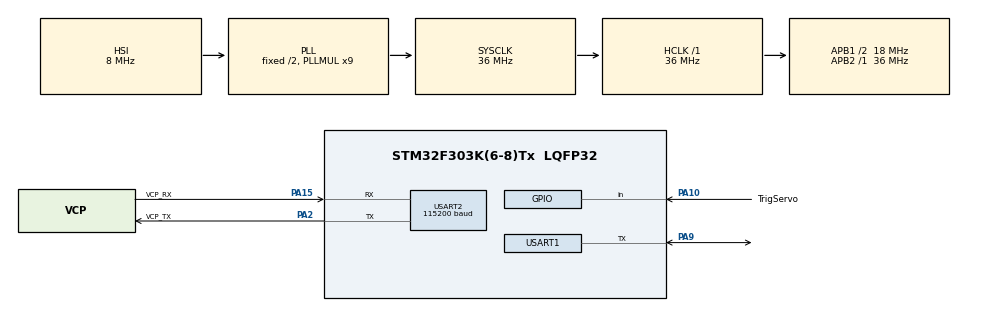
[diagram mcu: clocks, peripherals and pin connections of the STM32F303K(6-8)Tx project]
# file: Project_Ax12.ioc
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Dma.Request0=USART1_RX
Dma.USART1_RX.0.Direction=DMA_PERIPH_TO_MEMORY
Dma.USART1_RX.0.Instance=DMA1_Channel5
Dma.USART1_RX.0.MemDataAlignment=DMA_MDATAALIGN_BYTE
Dma.USART1_RX.0.MemInc=DMA_MINC_ENABLE
Dma.USART1_RX.0.Mode=DMA_CIRCULAR
Dma.USART1_RX.0.PeriphDataAlignment=DMA_PDATAALIGN_BYTE
Dma.USART1_RX.0.PeriphInc=DMA_PINC_DISABLE
Dma.USART1_RX.0.Priority=DMA_PRIORITY_VERY_HIGH
Mcu.Family=STM32F3
Mcu.Name=STM32F303K(6-8)Tx
Mcu.Package=LQFP32
NVIC.DMA1_Channel5_IRQn=true\:0\:0\:false\:false\:true\:false\:true\:true
NVIC.PriorityGroup=NVIC_PRIORITYGROUP_4
NVIC.USART1_IRQn=true\:0\:0\:false\:false\:true\:true\:true\:true
NVIC.USART2_IRQn=true\:0\:0\:false\:false\:true\:true\:true\:true
PA10.GPIO_Label=TrigServo
PA10.Signal=GPIO_Input
PA13.GPIO_Label=SWDIO
PA13.Mode=Serial_Wire
PA13.Signal=SYS_JTMS-SWDIO
PA14.GPIO_Label=SWCLK
PA14.Mode=Serial_Wire
PA14.Signal=SYS_JTCK-SWCLK
PA15.GPIO_Label=VCP_RX
PA15.Mode=Asynchronous
PA15.Signal=USART2_RX
PA2.GPIO_Label=VCP_TX
PA2.Mode=Asynchronous
PA2.Signal=USART2_TX
PA9.Mode=Half_duplex(single_wire_mode)
PA9.Signal=USART1_TX
PF0\ /\ OSC_IN.GPIO_Label=MCO
PF0\ /\ OSC_IN.Mode=HSE-External-Clock-Source
PF0\ /\ OSC_IN.Signal=RCC_OSC_IN
ProjectManager.HeapSize=0x200
ProjectManager.StackSize=0x400
ProjectManager.TargetToolchain=STM32CubeIDE
RCC.AHBFreq_Value=36000000
RCC.APB1CLKDivider=RCC_HCLK_DIV2
RCC.APB1Freq_Value=18000000
RCC.APB1TimFreq_Value=36000000
RCC.APB2Freq_Value=36000000
RCC.APB2TimFreq_Value=36000000
RCC.CortexFreq_Value=36000000
RCC.HCLKFreq_Value=36000000
RCC.HSE_VALUE=8000000
RCC.HSI_VALUE=8000000
RCC.PLLMUL=RCC_PLL_MUL9
RCC.SYSCLKFreq_VALUE=36000000
RCC.SYSCLKSourceVirtual=RCC_SYSCLKSOURCE_PLLCLK
USART1.BaudRate=250000
USART1.VirtualMode-Half_duplex(single_wire_mode)=VM_ASYNC
USART2.BaudRate=115200
USART2.VirtualMode-Asynchronous=VM_ASYNC
board=NUCLEO-F303K8

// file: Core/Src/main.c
/* USER CODE BEGIN Header */
/**
  ******************************************************************************
  * @file           : main.c
  * @brief          : Main program body
  ******************************************************************************
  * @attention
  *
  * Copyright (c) 2023 STMicroelectronics.
  * All rights reserved.
  *
  * This software is licensed under terms that can be found in the LICENSE file
  * in the root directory of this software component.
  * If no LICENSE file comes with this software, it is provided AS-IS.
  *
  ******************************************************************************
  */
/* USER CODE END Header */
#include "main.h"

/* USER CODE BEGIN Includes */
#include "AX12_test.h"
/* USER CODE END Includes */

UART_HandleTypeDef huart1;
UART_HandleTypeDef huart2;
DMA_HandleTypeDef hdma_usart1_rx;

/* USER CODE BEGIN PV */
uint8_t PhobosArm;
/* USER CODE END PV */

void SystemClock_Config(void);
static void MX_GPIO_Init(void);
static void MX_DMA_Init(void);
static void MX_USART2_UART_Init(void);
static void MX_USART1_UART_Init(void);
/* USER CODE BEGIN PFP */
void HAL_UART_RxCpltCallback(UART_HandleTypeDef* huart) {
	if(huart->Instance == USART2){
		if(PhobosArm==0x88){//ping the robot with the host and sendback a byte
			AX12 ax12_ID1;
			AX12_Init(&ax12_ID1, &huart1, 1, BR_250K);
			AX12_setLED(&ax12_ID1, 1);
			AX12_setMovingSpeed(&ax12_ID1, 5);
			AX12_setRangeAngle(&ax12_ID1, 0, 300);
			AX12_setDelayTime(&ax12_ID1, 180);
			AX12_setPosition(&ax12_ID1,140);
			HAL_Delay(5000);
			AX12_setPosition(&ax12_ID1,180);

		}

	}
}
/* USER CODE END PFP */

int main(void)
{

  /* MCU Configuration--------------------------------------------------------*/

  /* Reset of all peripherals, Initializes the Flash interface and the Systick. */
  HAL_Init();

  /* Configure the system clock */
  SystemClock_Config();

  /* Initialize all configured peripherals */
  MX_GPIO_Init();
  MX_DMA_Init();
  MX_USART2_UART_Init();
  MX_USART1_UART_Init();
  /* USER CODE BEGIN 2 */
  HAL_UART_Receive_IT(&huart2, &PhobosArm, 1);
  AX12 ax12_1; //( de 60 à 150)
  AX12 ax12_2; //( de 150 à 240)

  /* position ax12 ID_1 */
  int pfermer_1 = 60;
  /* position ax12 ID_2 */
  int pfermer_2 = 240;
  int pouvert = 150;
  int pinclineEnAr = 60;
  int pinclineEnAv = 150;
  int position;

  AX12_Init(&ax12_1, &huart1, 1, BR_250K);
  AX12_setLED(&ax12_1, 1);
  AX12_setMovingSpeed(&ax12_1, 5);
  AX12_setRangeAngle(&ax12_1, 0, 300);
  AX12_setDelayTime(&ax12_1, 180);

  AX12_Init(&ax12_2, &huart1, 2, BR_250K);
  AX12_setLED(&ax12_2, 1);
  AX12_setMovingSpeed(&ax12_2, 5);
  AX12_setRangeAngle(&ax12_2, 0, 300);
  AX12_setDelayTime(&ax12_2, 180);

  AX12_setPosition(&ax12_1,200);
  int detec=0;
  while(detec==0){
	  detec = HAL_GPIO_ReadPin(TrigServo_GPIO_Port, TrigServo_Pin);
  }
  AX12_setPosition(&ax12_1,140);
  //AX12_setPosition(&ax12_1,180);
  /* USER CODE END 2 */

  /* Infinite loop */
  /* USER CODE BEGIN WHILE */
  while (1)
  {
	  ////////////////////////////////////////////////////////////////////////////////
	  /*AX12_setPosition(&ax12_2,pfermer_2);
	  do
	  {
		  position = AX12_getPosition(&ax12_2);
	  }
	  while(((position > (pfermer_2-pfermer_2*0.05)) && (position < (pfermer_2+pfermer_2*0.05))) == 0);

	  AX12_setPosition(&ax12_1,150);
	  do
	  {
		  position = AX12_getPosition(&ax12_1);
	  }
	  while(((position > (pouvert-pouvert*0.05)) && (position < (pouvert+pouvert*0.05))) == 0);
	  //while((AX12_getPosition(&ax12_1) < (pouvert-pouvert*0.05) ) || (AX12_getPosition(&ax12_1) > (pouvert+pouvert*0.05) )){}

	  AX12_setPosition(&ax12_2, 150);
	  do
	  {
		  position = AX12_getPosition(&ax12_2);
	  }
	  while(((position > (pouvert-pouvert*0.05)) && (position < (pouvert+pouvert*0.05))) == 0);
	  //while((AX12_getPosition(&ax12_2) < (pouvert-pouvert*0.05) ) || (AX12_getPosition(&ax12_2) > (pouvert+pouvert*0.05) )){}

	  AX12_setPosition(&ax12_1,60);
	  do
	  {
		  position = AX12_getPosition(&ax12_1);
	  }
	  while(((position > (pfermer_1-pfermer_1*0.05)) && (position < (pfermer_1+pfermer_1*0.05))) == 0);/*
	  /////////////////////////////////////////////////////////////////////////////////////
	  //while((AX12_getPosition(&ax12_1) < (pfermer_1-pfermer_1*0.05) ) || (AX12_getPosition(&ax12_1) > (pfermer_1+pfermer_1*0.05) )){}

	  //local = AX12_getPosition(&ax12);
	  //AX12_getPosition(&ax12);
	  //AX12_getID(&ax12);
	  //AX12_getPosition(&ax12);
    /* USER CODE END WHILE */

  }
}

void SystemClock_Config(void)
{
  RCC_OscInitTypeDef RCC_OscInitStruct = {0};
  RCC_ClkInitTypeDef RCC_ClkInitStruct = {0};
  RCC_PeriphCLKInitTypeDef PeriphClkInit = {0};

  /** Initializes the RCC Oscillators according to the specified parameters
  * in the RCC_OscInitTypeDef structure.
  */
  RCC_OscInitStruct.OscillatorType = RCC_OSCILLATORTYPE_HSI;
  RCC_OscInitStruct.HSIState = RCC_HSI_ON;
  RCC_OscInitStruct.HSICalibrationValue = RCC_HSICALIBRATION_DEFAULT;
  RCC_OscInitStruct.PLL.PLLState = RCC_PLL_ON;
  RCC_OscInitStruct.PLL.PLLSource = RCC_PLLSOURCE_HSI;
  RCC_OscInitStruct.PLL.PLLMUL = RCC_PLL_MUL9;
  if (HAL_RCC_OscConfig(&RCC_OscInitStruct) != HAL_OK)
  {
    Error_Handler();
  }

  /** Initializes the CPU, AHB and APB buses clocks
  */
  RCC_ClkInitStruct.ClockType = RCC_CLOCKTYPE_HCLK|RCC_CLOCKTYPE_SYSCLK
                              |RCC_CLOCKTYPE_PCLK1|RCC_CLOCKTYPE_PCLK2;
  RCC_ClkInitStruct.SYSCLKSource = RCC_SYSCLKSOURCE_PLLCLK;
  RCC_ClkInitStruct.AHBCLKDivider = RCC_SYSCLK_DIV1;
  RCC_ClkInitStruct.APB1CLKDivider = RCC_HCLK_DIV2;
  RCC_ClkInitStruct.APB2CLKDivider = RCC_HCLK_DIV1;

  if (HAL_RCC_ClockConfig(&RCC_ClkInitStruct, FLASH_LATENCY_1) != HAL_OK)
  {
    Error_Handler();
  }
  PeriphClkInit.PeriphClockSelection = RCC_PERIPHCLK_USART1;
  PeriphClkInit.Usart1ClockSelection = RCC_USART1CLKSOURCE_PCLK1;
  if (HAL_RCCEx_PeriphCLKConfig(&PeriphClkInit) != HAL_OK)
  {
    Error_Handler();
  }
}

static void MX_USART1_UART_Init(void)
{

  huart1.Instance = USART1;
  huart1.Init.BaudRate = 250000;
  huart1.Init.WordLength = UART_WORDLENGTH_8B;
  huart1.Init.StopBits = UART_STOPBITS_1;
  huart1.Init.Parity = UART_PARITY_NONE;
  huart1.Init.Mode = UART_MODE_TX_RX;
  huart1.Init.HwFlowCtl = UART_HWCONTROL_NONE;
  huart1.Init.OverSampling = UART_OVERSAMPLING_16;
  huart1.Init.OneBitSampling = UART_ONE_BIT_SAMPLE_DISABLE;
  huart1.AdvancedInit.AdvFeatureInit = UART_ADVFEATURE_NO_INIT;
  if (HAL_HalfDuplex_Init(&huart1) != HAL_OK)
  {
    Error_Handler();
  }

}

static void MX_USART2_UART_Init(void)
{

  huart2.Instance = USART2;
  huart2.Init.BaudRate = 115200;
  huart2.Init.WordLength = UART_WORDLENGTH_8B;
  huart2.Init.StopBits = UART_STOPBITS_1;
  huart2.Init.Parity = UART_PARITY_NONE;
  huart2.Init.Mode = UART_MODE_TX_RX;
  huart2.Init.HwFlowCtl = UART_HWCONTROL_NONE;
  huart2.Init.OverSampling = UART_OVERSAMPLING_16;
  huart2.Init.OneBitSampling = UART_ONE_BIT_SAMPLE_DISABLE;
  huart2.AdvancedInit.AdvFeatureInit = UART_ADVFEATURE_NO_INIT;
  if (HAL_UART_Init(&huart2) != HAL_OK)
  {
    Error_Handler();
  }

}

static void MX_DMA_Init(void)
{

  /* DMA controller clock enable */
  __HAL_RCC_DMA1_CLK_ENABLE();

  /* DMA interrupt init */
  /* DMA1_Channel5_IRQn interrupt configuration */
  HAL_NVIC_SetPriority(DMA1_Channel5_IRQn, 0, 0);
  HAL_NVIC_EnableIRQ(DMA1_Channel5_IRQn);

}

static void MX_GPIO_Init(void)
{
  GPIO_InitTypeDef GPIO_InitStruct = {0};

  /* GPIO Ports Clock Enable */
  __HAL_RCC_GPIOF_CLK_ENABLE();
  __HAL_RCC_GPIOA_CLK_ENABLE();

  /*Configure GPIO pin : TrigServo_Pin */
  GPIO_InitStruct.Pin = TrigServo_Pin;
  GPIO_InitStruct.Mode = GPIO_MODE_INPUT;
  GPIO_InitStruct.Pull = GPIO_NOPULL;
  HAL_GPIO_Init(TrigServo_GPIO_Port, &GPIO_InitStruct);

}

void Error_Handler(void)
{
  __disable_irq();
  while (1)
  {
  }
}
